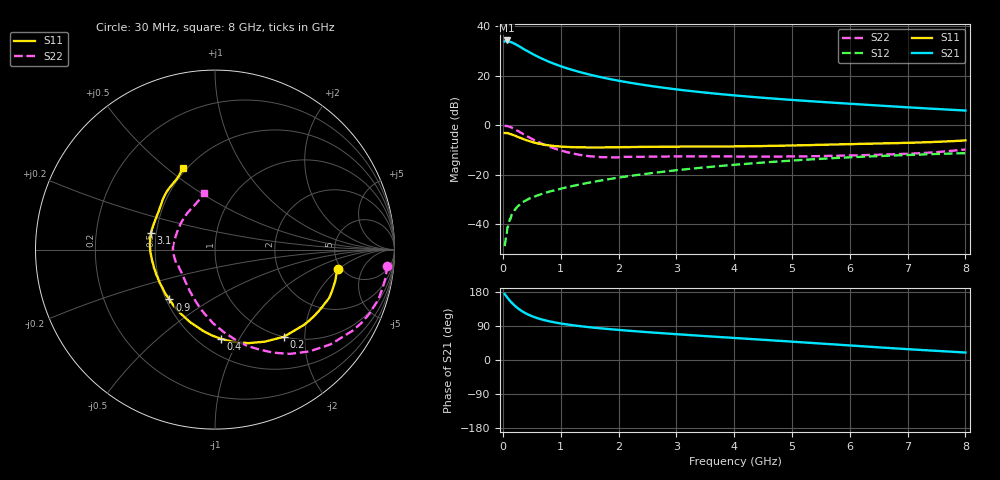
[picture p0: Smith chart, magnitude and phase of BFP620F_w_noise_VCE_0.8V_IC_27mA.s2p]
! Infineon Technologies  Discrete & RF Semiconductors
! BFP620F
! VCE =  0.8 V,  IC =  27 mA
! Common Emitter S-Parameters:  Dec 2014
# GHz  S  MA  R  50
!  f  S11  S21  S12  S22
! GHz  MAG  ANG  MAG  ANG  MAG  ANG  MAG  ANG
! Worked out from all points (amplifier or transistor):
!   95 points, 30 MHz to 8 GHz, reference 50 ohm
!   highest |S21| = 34.2 dB at 70 MHz (marker M1)
!   |S21| within 3 dB of that: start of sweep to 328.3 MHz
!   unconditionally stable (mu >= 1): 2.554 GHz to end of sweep
!   at 300 MHz: K = 0.35, MSG = 31.8 dB, |S12| = -31.9 dB
!   at 3.3 GHz: K = 1.02, MAG = 14.7 dB, |S12| = -17.5 dB
!   at 8 GHz: K = 1.06, MAG = 7.1 dB, |S12| = -11.3 dB
!   lowest NFmin = 1.05 dB at 450 MHz
!   S11 on the Smith chart (normalised r, x): 30 MHz: 4.63, -1.97; 200 MHz: 1.00, -1.57; 400 MHz: 0.64, -0.84; 900 MHz: 0.52, -0.34; 3.1 GHz: 0.47, +0.10; 8 GHz: 0.47, +0.57
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0.03  0.6923 -9.2  48.78 174.5  0.0036 79.7  0.965 -5.3
0.05  0.6924 -14.5  50.7 170.2  0.0051 96.5  0.9627 -9.6
0.07  0.6916 -19.9  51.13 166.2  0.0068 83.9  0.9558 -14.0
0.1  0.6774 -28.2  49.47 160.3  0.0107 76.7  0.9376 -20.4
0.15  0.6475 -40.8  46.97 151.6  0.0153 74.1  0.8908 -30.4
0.2  0.6186 -51.8  43.97 144.1  0.0191 70.9  0.8331 -39.3
0.25  0.5835 -61.5  40.96 137.6  0.0225 66.7  0.7731 -47.2
0.3  0.5536 -70.3  37.94 131.9  0.0253 63.9  0.7154 -54.3
0.4  0.4985 -86.0  32.36 122.7  0.0302 60.6  0.6099 -66.0
0.5  0.4578 -98.3  27.81 115.7  0.0344 58.6  0.529 -75.8
0.6  0.427 -109.1  24.19 110.2  0.0381 58.3  0.4618 -84.0
0.7  0.4047 -118.0  21.3 105.8  0.0418 57.8  0.4105 -91.5
0.9  0.3765 -132.5  17.05 99.1  0.0485 57.9  0.3354 -104.5
1.1  0.3623 -143.8  14.13 94.0  0.0554 58.5  0.286 -116.3
1.4  0.3557 -156.8  11.21 88.2  0.0658 58.7  0.2438 -132.3
1.9  0.3562 -172.1  8.284 80.7  0.0836 58.2  0.2232 -154.2
2.7  0.3657 171.5  5.845 71.4  0.1119 55.4  0.2314 -172.3
3.1  0.3684 165.1  5.101 67.2  0.1263 53.2  0.2338 -178.3
4.1  0.3728 151.4  3.891 57.2  0.1614 47.6  0.232 168.7
5.4  0.3975 138.0  2.996 44.4  0.2056 38.4  0.2361 147.7
6.7  0.4304 124.9  2.401 31.5  0.242 28.3  0.2568 125.7
8  0.4906 111.6  1.968 19.7  0.272 18.5  0.3224 100.5
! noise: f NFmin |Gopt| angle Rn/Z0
0.45  1.05  0.02  -178  0.19
0.9  1.09  0.03  -171  0.15
1.5  1.1  0.05  -151  0.16
1.8  1.12  0.06  -148  0.17
1.9  1.12  0.07  -148  0.16
2.4  1.14  0.08  -147  0.16
3.5  1.21  0.11  -143  0.17
5.5  1.36  0.19  238  0.12
6  1.4  0.2  259  0.15
